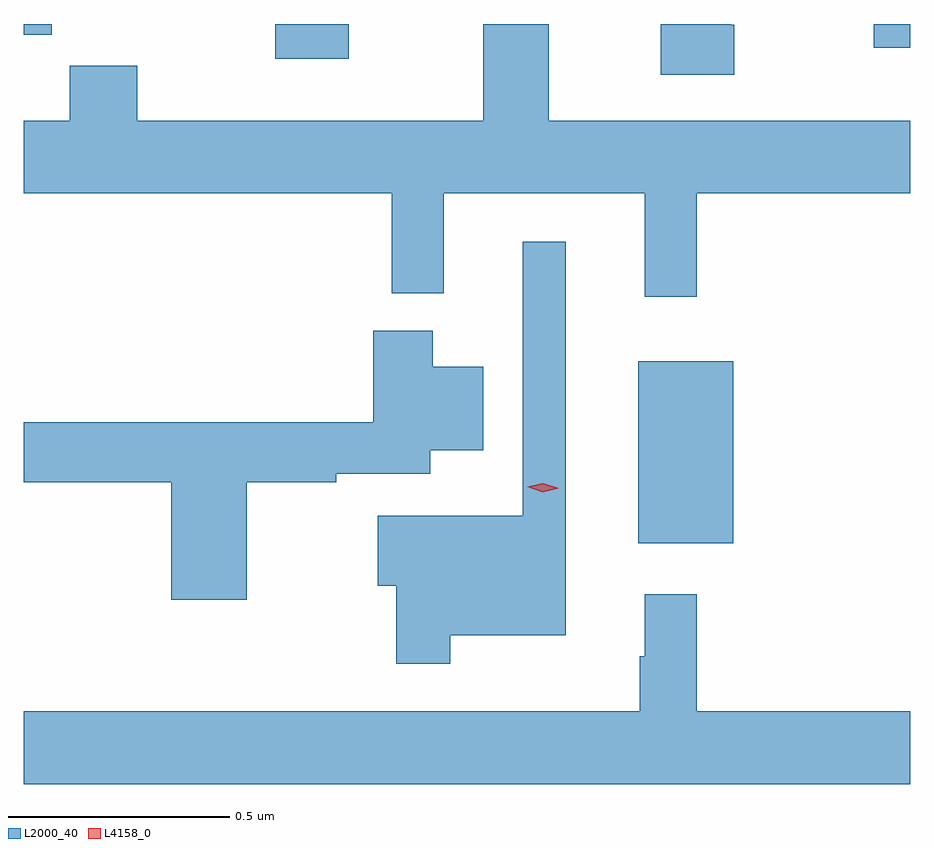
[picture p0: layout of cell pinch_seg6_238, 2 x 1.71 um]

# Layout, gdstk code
import gdstk
lib = gdstk.Library(unit=1e-6, precision=1e-09)
def R(c, l, rs):  # rectangles x0, y0, x1, y1
    for r in rs: c.add(gdstk.rectangle(r[:2], r[2:], *l))
def P(c, l, *ps):  # polygons
    for p in ps: c.add(gdstk.Polygon(p, *l))
L2000_40 = (2000, 40)
L4158_0 = (4158, 0)

pinch_seg6_238 = lib.new_cell('pinch_seg6_238')
R(pinch_seg6_238, L2000_40, [(1126.979,925.235,1127.194,925.645), (1126.16,926.328,1126.326,926.406), (1127.51,926.352,1127.593,926.406), (1125.593,926.382,1125.656,926.406)])
P(pinch_seg6_238, L2000_40, [(1127.111,926.024),(1127.593,926.024),(1127.593,926.188),(1126.777,926.188),(1126.777,926.406),(1126.63,926.406),(1126.63,926.188),(1125.849,926.188),(1125.849,926.312),(1125.697,926.312),(1125.697,926.188),(1125.593,926.188),(1125.593,926.024),(1126.423,926.024),(1126.423,925.799),(1126.541,925.799),(1126.541,926.024),(1126.994,926.024),(1126.994,925.791),(1127.111,925.791)],
  [(1127.196,926.404),(1127.188,926.404),(1127.188,926.406),(1127.03,926.406),(1127.03,926.292),(1127.196,926.292)],
  [(1126.555,925.028),(1126.816,925.028),(1126.816,925.915),(1126.719,925.915),(1126.719,925.297),(1126.392,925.297),(1126.392,925.139),(1126.434,925.139),(1126.434,924.963),(1126.555,924.963)],
  [(1126.096,925.372),(1126.298,925.372),(1126.298,925.392),(1126.51,925.392),(1126.51,925.445),(1126.63,925.445),(1126.63,925.633),(1126.516,925.633),(1126.516,925.714),(1126.382,925.714),(1126.382,925.508),(1125.593,925.508),(1125.593,925.372),(1125.926,925.372),(1125.926,925.107),(1126.096,925.107)],
  [(1127.593,924.856),(1127.111,924.856),(1127.111,925.12),(1126.994,925.12),(1126.994,924.98),(1126.983,924.98),(1126.983,924.856),(1125.593,924.856),(1125.593,924.692),(1127.593,924.692)])
P(pinch_seg6_238, L4158_0, [(1126.764,925.35),(1126.729,925.362),(1126.729,925.362),(1126.729,925.362),(1126.765,925.37),(1126.8,925.359),(1126.8,925.359),(1126.8,925.359)])

lib.write_gds('pinch_seg6_238.gds')
